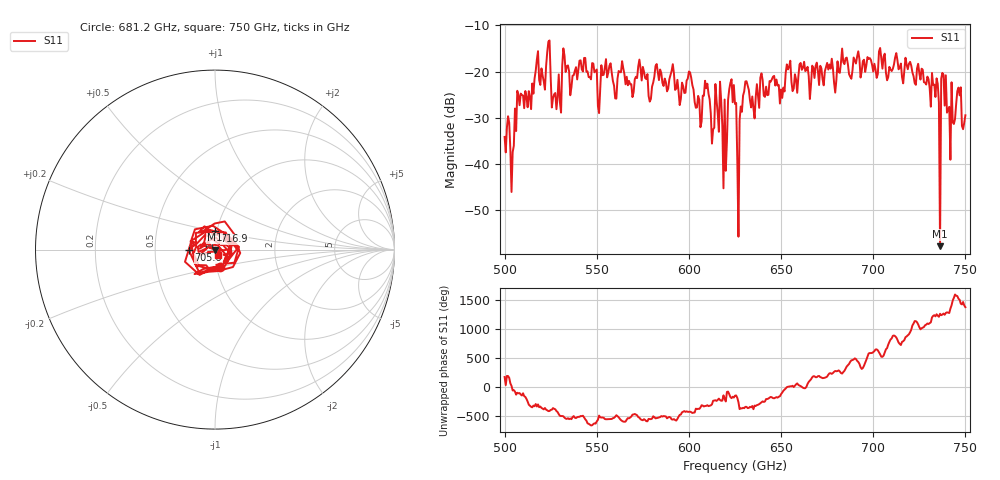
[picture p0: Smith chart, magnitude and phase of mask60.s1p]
!Created with skrf (http://scikit-rf.org).
# GHz S MA R 50.0
!freq magS11 angS11
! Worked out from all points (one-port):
!   401 points, 500 GHz to 750 GHz, reference 50 ohm
!   lowest |S11| = -57.7 dB at 736.2 GHz (marker M1), VSWR 1.00, Z = 49.9 - j0.0105 ohm
!   |S11| at or under -10 dB: start of sweep to end of sweep
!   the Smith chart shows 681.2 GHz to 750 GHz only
!   S11 on the Smith chart (normalised r, x): 681.2 GHz: 1.03, -0.20; 705.6 GHz: 0.75, -0.00; 716.9 GHz: 0.98, +0.20; 750 GHz: 1.03, -0.06
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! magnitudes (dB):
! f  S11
! 500 GHz  -34.1
! 503.8 GHz  -46.0
! 508.1 GHz  -27.2
! 523.8 GHz  -13.5
! 526.9 GHz  -24.9
! 531.2 GHz  -18.8
! 562.5 GHz  -20.0
! 593.8 GHz  -21.8
! 610 GHz  -22.6
! 616.2 GHz  -33.0
! 619.4 GHz  -26.0
! 622.5 GHz  -22.4
! 625 GHz  -27.0
! 627.5 GHz  -30.5
! 630.6 GHz  -22.1
! 656.2 GHz  -24.2
! 681.2 GHz  -20.1
! 687.5 GHz  -21.1
! 705.6 GHz  -16.7
! 716.9 GHz  -19.8
! 718.8 GHz  -19.5
! 733.1 GHz  -22.8
! 736.2 GHz  -57.7
! 737.5 GHz  -20.3
! 738.1 GHz  -20.7
! 743.1 GHz  -30.9
! 746.2 GHz  -23.4
! 750 GHz  -29.4
